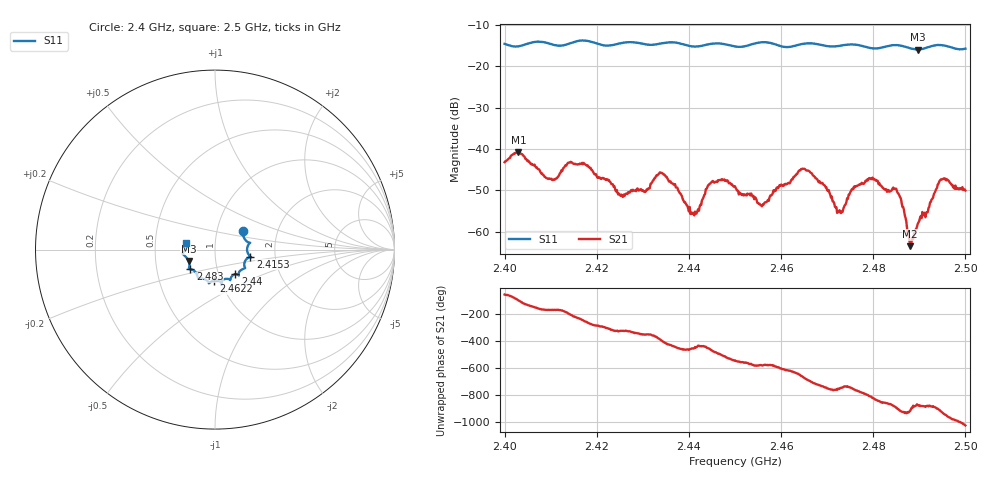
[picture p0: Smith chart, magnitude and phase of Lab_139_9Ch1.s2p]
# Hz S RI R 50
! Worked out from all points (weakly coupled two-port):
!   601 points, 2.4 GHz to 2.5 GHz, reference 50 ohm
!   highest |S21| = -40.72 dB at 2.403 GHz (marker M1); lowest = -63.5 dB at 2.488 GHz (marker M2)
!   lowest |S11| = -15.9 dB at 2.4897 GHz (marker M3), VSWR 1.38, Z = 36.9 - j4.81 ohm
!   |S11| at or under -10 dB: start of sweep to end of sweep
!   S12 and S22 are empty: the file has one direction only
!   S11 on the Smith chart (normalised r, x): 2.4 GHz: 1.33, +0.29; 2.4153 GHz: 1.48, -0.12; 2.44 GHz: 1.20, -0.34; 2.4622 GHz: 0.93, -0.33; 2.483 GHz: 0.74, -0.17; 2.5 GHz: 0.72, +0.06
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2.4e9  0.155 0.1064  0.00364 -0.00591  0 0  0 0
2.403e9  0.1652 0.0593  -0.00195 -0.009  0 0  0 0
2.41e9  0.1856 0.0258  -0.00429 -0.000639  0 0  0 0
2.415333e9  0.1963 -0.0386  -0.00476 0.00462  0 0  0 0
2.416667e9  0.2019 -0.0425  -0.00312 0.00585  0 0  0 0
2.4255e9  0.1661 -0.0983  0.00227 0.00152  0 0  0 0
2.433333e9  0.1312 -0.1336  0.00463 -0.00169  0 0  0 0
2.44e9  0.1138 -0.1365  -0.000485 -0.00169  0 0  0 0
2.444833e9  0.0849 -0.1679  -0.00114 -0.00379  0 0  0 0
2.45e9  0.0646 -0.1625  -0.00354 0.000219  0 0  0 0
2.455833e9  0.0378 -0.1931  -0.00158 0.00127  0 0  0 0
2.462167e9  -0.00766 -0.1737  -0.000532 0.00415  0 0  0 0
2.466667e9  -0.0342 -0.1875  0.00484 0.00151  0 0  0 0
2.472667e9  -0.0766 -0.1603  0.00152 -0.00101  0 0  0 0
2.478833e9  -0.1022 -0.1358  0.000854 -0.0041  0 0  0 0
2.483e9  -0.1375 -0.1094  -0.00227 -0.00202  0 0  0 0
2.483333e9  -0.1401 -0.1093  -0.00257 -0.0019  0 0  0 0
2.4855e9  -0.1459 -0.1064  -0.00287 0.000184  0 0  0 0
2.488e9  -0.1422 -0.0864  -0.00064 0.00019  0 0  0 0
2.489667e9  -0.1473 -0.0635  -0.00111 -0.000578  0 0  0 0
2.494833e9  -0.1802 -0.0203  -0.00394 0.00166  0 0  0 0
2.5e9  -0.1597 0.0393  0.0017 0.00265  0 0  0 0
